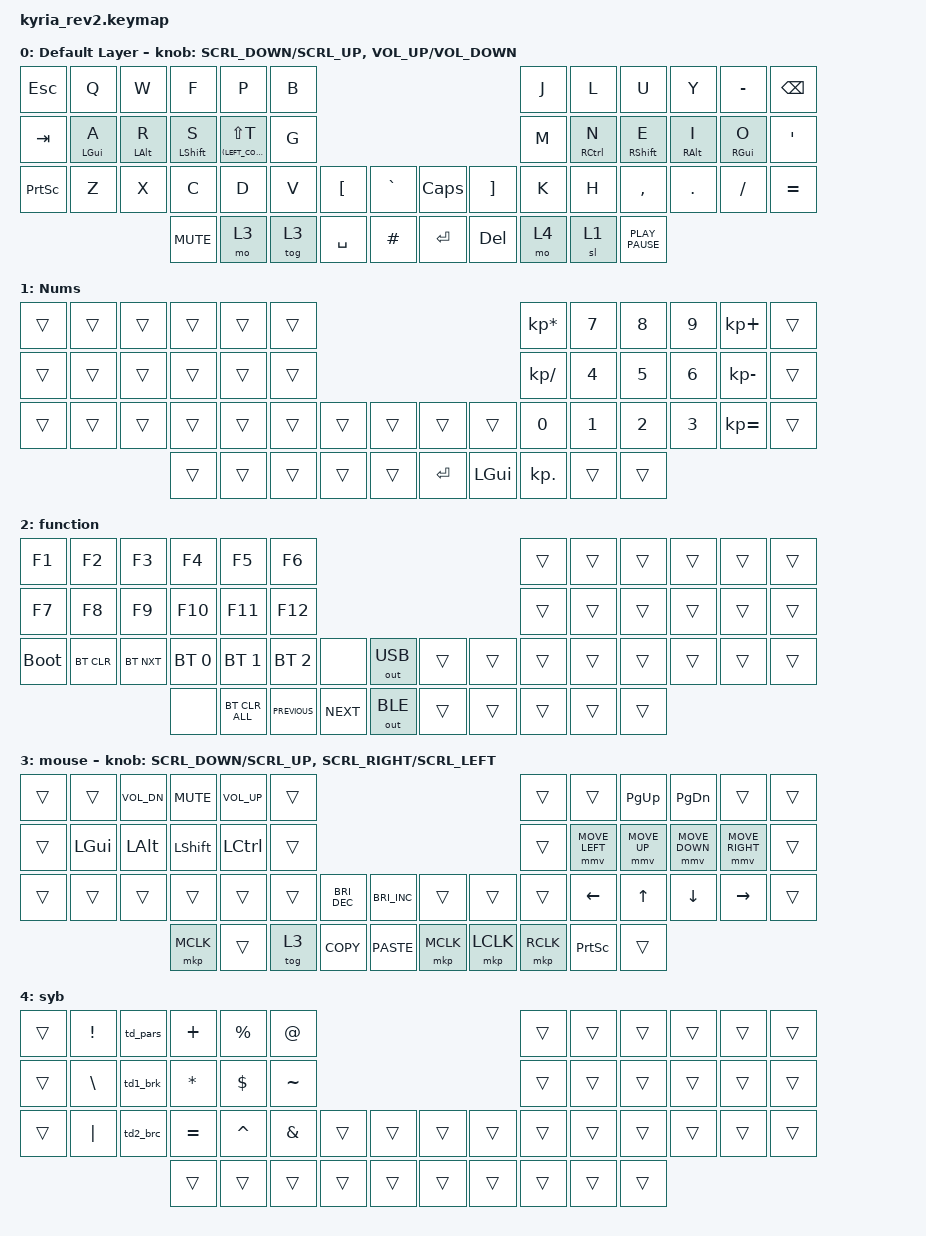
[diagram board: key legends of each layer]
#include <behaviors.dtsi>
#include <dt-bindings/zmk/bt.h>
#include <dt-bindings/zmk/keys.h>
#include <dt-bindings/zmk/pointing.h>

&studio_unlock

&sensors {
    triggers-per-rotation = <30>;
};


/ {
    behaviors {
        scroll_mvt: scroll_mvt {
            compatible = "zmk,behavior-sensor-rotate-var";
            label = "SCROLL_MVT";
            #sensor-binding-cells = <2>;
            bindings = <&msc>, <&msc>;
        };

        td_pars: parenthesis {
            compatible = "zmk,behavior-tap-dance";
            #binding-cells = <0>;
            tapping-term-ms = <200>;
            bindings = <&kp LPAR>, <&kp RPAR>;
        };

        td1_brk: brackets {
            compatible = "zmk,behavior-tap-dance";
            #binding-cells = <0>;
            tapping-term-ms = <200>;
            bindings = <&kp LBKT>, <&kp RBKT>;
        };

        td2_brc: braces {
            compatible = "zmk,behavior-tap-dance";
            #binding-cells = <0>;
            tapping-term-ms = <200>;
            bindings = <&kp LBRC>, <&kp RBRC>;
        };

        td_comma: commas {
            compatible = "zmk,behavior-tap-dance";
            label = "TD_COMMA";
            #binding-cells = <0>;
            bindings = <&kp COMMA>, <&kp SEMI>;

            tapping-term-ms = <200>;
        };

        td_dot: period {
            compatible = "zmk,behavior-tap-dance";
            label = "TD_DOT";
            #binding-cells = <0>;
            bindings = <&kp DOT>, <&kp COLON>;
        };


        // select which bt profile, hold to disconnect if inactive

        bt0_cmd: bt0_cmd {
            compatible = "zmk,behavior-tap-dance";
            label = "BT0_CMD";
            #binding-cells = <0>;
            bindings = <&bt BT_SEL 0>, <&bt BT_DISC 0>;
        };
        
        bt1_cmd: bt1_cmd {
            compatible = "zmk,behavior-tap-dance";
            label = "BT1_CMD";
            #binding-cells = <0>;
            bindings = <&bt BT_SEL 1>, <&bt BT_DISC 1>;
        };

        bt2_cmd: bt2_cmd {
            compatible = "zmk,behavior-tap-dance";
            label = "BT2_CMD";
            #binding-cells = <0>;
            bindings = <&bt BT_SEL 2>, <&bt BT_DISC 2>;
        };
    };

    keymap {
        compatible = "zmk,keymap";

        default {
            display-name = "Default Layer";

            // ---------------------------------------------------------------------------------------------------------------------------------
            // |  ESC  |  Q  |  W  |  E   |  R   |  T   |                                          |  Y   |  U    |  I    |  O   |   P   |   BSP  |
            // |       |  A  |  S  |  D   |  F   |  G   |                                          |  H   |  J    |  K    |  L   |   ;   |    '   |
            // |       |  Z  |  X  |  C   |  V   |  B   |   "["   |    `    |  |   CAPS  |   "]"   |  N   |  M    |  ,    |  .   |   /   |        |
            //                     | PP   |      |      |  SPACE  |   TAB   |  |   RET   |  SPACE  |      |       | MUTE  |

            bindings = <
&kp ESC          &kp Q           &kp W           &kp F             &kp P                     &kp B                                                                 &kp J  &kp L                &kp U              &kp Y            &kp MINUS        &kp BACKSPACE
&kp TAB          &mt LEFT_GUI A  &mt LEFT_ALT R  &mt LEFT_SHIFT S  &mt (LEFT_CONTROL) LS(T)  &kp G                                                                 &kp M  &mt RIGHT_CONTROL N  &mt RIGHT_SHIFT E  &mt RIGHT_ALT I  &mt RIGHT_GUI O  &kp SQT
&kp PRINTSCREEN  &kp Z           &kp X           &kp C             &kp D                     &kp V   &kp LEFT_BRACKET  &kp GRAVE  &kp CAPSLOCK  &kp RIGHT_BRACKET  &kp K  &kp H                &kp COMMA          &kp DOT          &kp FSLH         &kp EQUAL
                                                 &kp C_MUTE        &mo 3                     &tog 3  &kp SPACE         &kp POUND  &kp RET       &kp DELETE         &mo 4  &sl 1                &kp K_PLAY_PAUSE
            >;

            sensor-bindings =
                <&scroll_mvt SCRL_DOWN SCRL_UP>,
                <&inc_dec_kp C_VOLUME_UP C_VOLUME_DOWN>;
        };

        Nums {
            bindings = <
&trans  &trans  &trans  &trans  &trans  &trans                                           &kp KP_ASTERISK  &kp N7  &kp N8  &kp N9  &kp KP_PLUS      &trans
&trans  &trans  &trans  &trans  &trans  &trans                                           &kp KP_DIVIDE    &kp N4  &kp N5  &kp N6  &kp KP_SUBTRACT  &trans
&trans  &trans  &trans  &trans  &trans  &trans  &trans  &trans  &trans     &trans        &kp NUMBER_0     &kp N1  &kp N2  &kp N3  &kp KP_EQUAL     &trans
                        &trans  &trans  &trans  &trans  &trans  &kp ENTER  &kp LEFT_GUI  &kp KP_DOT       &trans  &trans
            >;
        };

        function {
            bindings = <
&kp F1       &kp F2      &kp F3      &kp F4        &kp F5          &kp F6                                                    &trans  &trans  &trans  &trans  &trans  &trans
&kp F7       &kp F8      &kp F9      &kp F10       &kp F11         &kp F12                                                   &trans  &trans  &trans  &trans  &trans  &trans
&bootloader  &bt BT_CLR  &bt BT_NXT  &bt BT_SEL 0  &bt BT_SEL 1    &bt BT_SEL 2    &none       &out OUT_USB  &trans  &trans  &trans  &trans  &trans  &trans  &trans  &trans
                                     &none         &bt BT_CLR_ALL  &kp K_PREVIOUS  &kp K_NEXT  &out OUT_BLE  &trans  &trans  &trans  &trans  &trans
            >;
        };

        mouse {
            bindings = <
&trans  &trans        &kp C_VOL_DN  &kp K_MUTE      &kp C_VOLUME_UP   &trans                                                                    &trans     &trans           &kp PAGE_UP   &kp PAGE_DOWN   &trans           &trans
&trans  &kp LEFT_GUI  &kp LEFT_ALT  &kp LEFT_SHIFT  &kp LEFT_CONTROL  &trans                                                                    &trans     &mmv MOVE_LEFT   &mmv MOVE_UP  &mmv MOVE_DOWN  &mmv MOVE_RIGHT  &trans
&trans  &trans        &trans        &trans          &trans            &trans  &kp C_BRIGHTNESS_DEC  &kp C_BRIGHTNESS_INC  &trans     &trans     &trans     &kp LEFT_ARROW   &kp UP_ARROW  &kp DOWN_ARROW  &kp RIGHT_ARROW  &trans
                                    &mkp MCLK       &trans            &tog 3  &kp K_COPY            &kp K_PASTE           &mkp MCLK  &mkp LCLK  &mkp RCLK  &kp PRINTSCREEN  &trans
            >;

            sensor-bindings =
                <&scroll_mvt SCRL_DOWN SCRL_UP>,
                <&scroll_mvt SCRL_RIGHT SCRL_LEFT>;
        };

        syb {
            bindings = <
&trans  &kp EXCL       &td_pars  &kp PLUS      &kp PERCENT  &kp AT                                         &trans  &trans  &trans  &trans  &trans  &trans
&trans  &kp BACKSLASH  &td1_brk  &kp ASTERISK  &kp DOLLAR   &kp TILDE                                      &trans  &trans  &trans  &trans  &trans  &trans
&trans  &kp PIPE       &td2_brc  &kp EQUAL     &kp CARET    &kp AMPERSAND  &trans  &trans  &trans  &trans  &trans  &trans  &trans  &trans  &trans  &trans
                                 &trans        &trans       &trans         &trans  &trans  &trans  &trans  &trans  &trans  &trans
            >;
        };
    };
};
